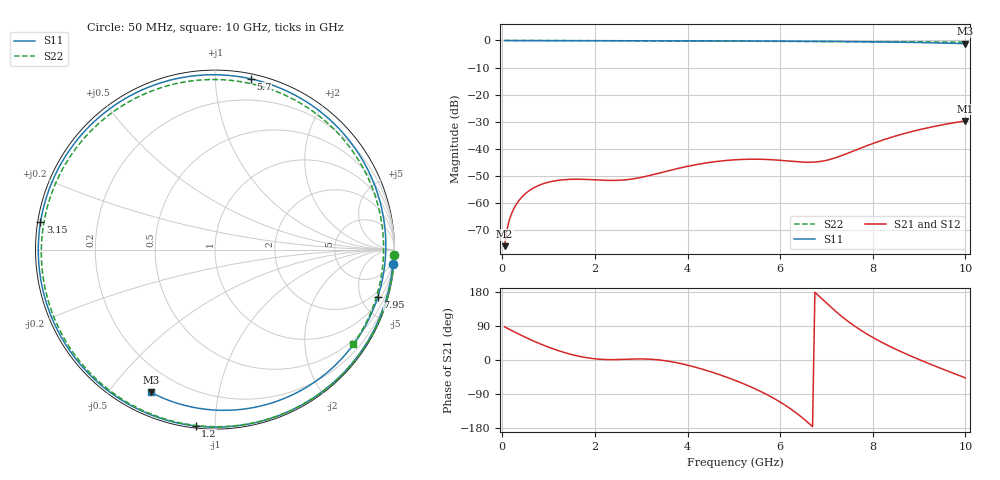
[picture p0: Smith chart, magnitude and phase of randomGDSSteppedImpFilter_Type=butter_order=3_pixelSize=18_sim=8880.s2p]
! freq	dB(S11)	phase(S11)	dB(S12)	phase(S12)
!  dB(S21)	phase(S21)	dB(S22)	phase(S22)
!S-par simulation data
#  GHz  S  DB  R 50
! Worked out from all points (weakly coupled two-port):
!   200 points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, 50 MHz to 10 GHz, reference 50 ohm
!   highest |S21| = -29.72 dB at 10 GHz (marker M1); lowest = -75.9 dB at 50 MHz (marker M2)
!   lowest |S11| = -1.2 dB at 10 GHz (marker M3), VSWR 14.60, Z = 4.86 - j32.2 ohm
!   |S11| at or under -10 dB: nowhere
!   |S22| runs from -0.6 to 0.0 dB; largest |S21 - S12| = 0
!   S11 on the Smith chart (normalised r, x): 50 MHz: 2, -25; 1.2 GHz: 0.01, -0.90; 3.15 GHz: 0.01, +0.08; 5.7 GHz: 0.04, +1.23; 7.95 GHz: 1.37, -6.72; 10 GHz: 0.10, -0.64
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0.05  -0.05 -4.7  -75.93 87.5  -75.93 87.5  -0.01 -1.6
0.1  -0.05 -9.1  -69.89 84.2  -69.89 84.2  -0.01 -3.3
0.15  -0.06 -13.6  -66.39 81.0  -66.39 81.0  -0.02 -5.0
0.4  -0.06 -35.6  -58.24 65.7  -58.24 65.7  -0.02 -13.5
0.8  -0.08 -68.1  -53.42 43.5  -53.42 43.5  -0.03 -27.1
1.2  -0.10 -96.3  -51.64 25.1  -51.64 25.1  -0.05 -40.5
1.75  -0.12 -128.3  -51.26 7.6  -51.26 7.6  -0.07 -58.7
2.4  -0.13 -159.0  -51.66 1.0  -51.66 1.0  -0.10 -80.1
3.15  -0.14 171.1  -49.97 2.3  -49.97 2.3  -0.14 -104.8
3.4  -0.15 161.9  -48.91 -0.1  -48.91 -0.1  -0.15 -113.1
4.3  -0.18 129.6  -45.50 -23.5  -45.50 -23.5  -0.21 -143.9
5.05  -0.21 102.6  -44.02 -54.8  -44.02 -54.8  -0.27 -171.3
5.7  -0.25 78.1  -43.92 -90.5  -43.92 -90.5  -0.33 162.9
6.2  -0.28 58.5  -44.54 -126.8  -44.54 -126.8  -0.38 141.3
6.7  -0.32 38.0  -44.94 -175.8  -44.94 -175.8  -0.42 118.1
7.35  -0.40 10.3  -42.36 112.9  -42.36 112.9  -0.47 86.2
7.95  -0.50 -16.3  -38.36 63.0  -38.36 63.0  -0.50 55.9
8.35  -0.58 -34.4  -36.02 37.0  -36.02 37.0  -0.51 36.1
8.75  -0.69 -52.8  -34.04 14.3  -34.04 14.3  -0.53 17.1
9.2  -0.84 -74.1  -32.19 -8.9  -32.19 -8.9  -0.54 -3.0
9.6  -1.00 -93.6  -30.84 -28.3  -30.84 -28.3  -0.57 -19.4
10  -1.19 -114.1  -29.72 -47.1  -29.72 -47.1  -0.60 -34.5
